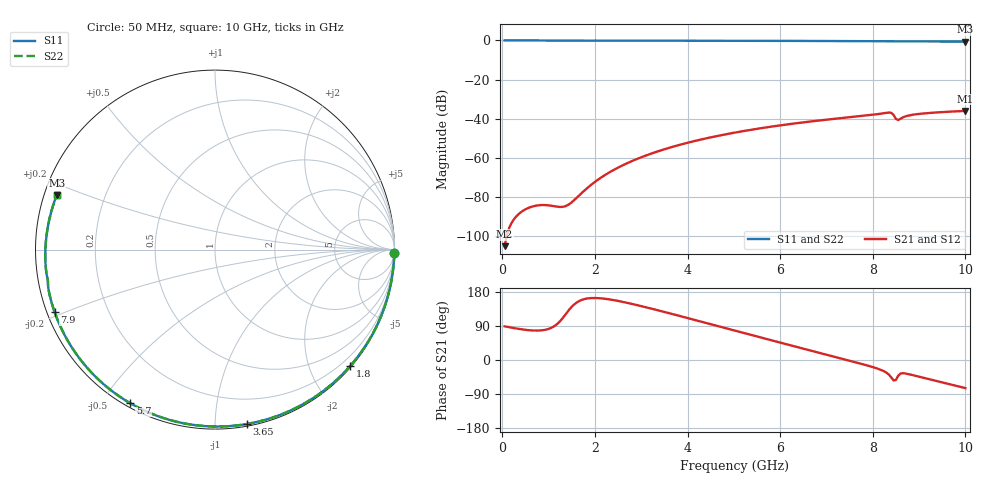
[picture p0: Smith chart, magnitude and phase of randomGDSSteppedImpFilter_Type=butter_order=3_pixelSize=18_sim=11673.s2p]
! freq	dB(S11)	phase(S11)	dB(S12)	phase(S12)
!  dB(S21)	phase(S21)	dB(S22)	phase(S22)
!S-par simulation data
#  GHz  S  DB  R 50
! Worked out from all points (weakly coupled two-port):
!   200 points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, 50 MHz to 10 GHz, reference 50 ohm
!   highest |S21| = -35.99 dB at 10 GHz (marker M1); lowest = -105.1 dB at 50 MHz (marker M2)
!   lowest |S11| = -0.6 dB at 10 GHz (marker M3), VSWR 28.63, Z = 1.79 + j8.32 ohm
!   |S11| at or under -10 dB: nowhere
!   |S22| runs from -0.6 to 0.0 dB; largest |S21 - S12| = 0
!   S11 on the Smith chart (normalised r, x): 50 MHz: open; 1.8 GHz: 0.02, -2.69; 3.65 GHz: 0.01, -1.20; 5.7 GHz: 0.02, -0.59; 7.9 GHz: 0.02, -0.19; 10 GHz: 0.04, +0.17
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0.05  -0.00 -1.1  -105.09 88.8  -105.09 88.8  -0.00 -1.1
0.8  -0.02 -18.3  -84.18 77.8  -84.18 77.8  -0.02 -18.3
1.6  -0.05 -36.3  -80.52 151.1  -80.52 151.1  -0.05 -36.3
1.75  -0.05 -39.6  -77.18 160.0  -77.18 160.0  -0.05 -39.6
1.8  -0.05 -40.7  -76.12 161.5  -76.12 161.5  -0.05 -40.7
2.1  -0.06 -47.3  -70.57 163.0  -70.57 163.0  -0.06 -47.3
2.5  -0.07 -55.9  -64.96 155.9  -64.96 155.9  -0.07 -55.9
2.9  -0.08 -64.3  -60.62 145.2  -60.62 145.2  -0.08 -64.3
3.4  -0.10 -74.6  -56.34 130.0  -56.34 130.0  -0.10 -74.6
3.65  -0.11 -79.6  -54.53 122.0  -54.53 122.0  -0.11 -79.6
4.35  -0.13 -93.4  -50.29 99.4  -50.29 99.4  -0.13 -93.4
5.05  -0.16 -106.8  -46.95 76.7  -46.95 76.7  -0.16 -106.8
5.7  -0.20 -118.8  -44.41 55.6  -44.41 55.6  -0.20 -118.9
6.7  -0.26 -137.0  -41.28 23.7  -41.28 23.7  -0.26 -137.0
7.9  -0.36 -158.7  -38.23 -15.1  -38.23 -15.1  -0.36 -158.8
8.35  -0.42 -167.2  -36.82 -38.8  -36.82 -38.8  -0.42 -167.2
8.4  -0.44 -168.1  -36.97 -46.1  -36.97 -46.1  -0.44 -168.2
8.5  -0.48 -169.8  -40.14 -52.4  -40.14 -52.4  -0.48 -169.8
8.55  -0.47 -170.6  -40.63 -41.3  -40.63 -41.3  -0.47 -170.6
8.7  -0.46 -173.4  -38.83 -35.4  -38.83 -35.4  -0.46 -173.4
8.9  -0.48 -177.2  -37.82 -41.1  -37.82 -41.1  -0.48 -177.2
10  -0.61 161.1  -35.99 -74.2  -35.99 -74.2  -0.61 161.0
